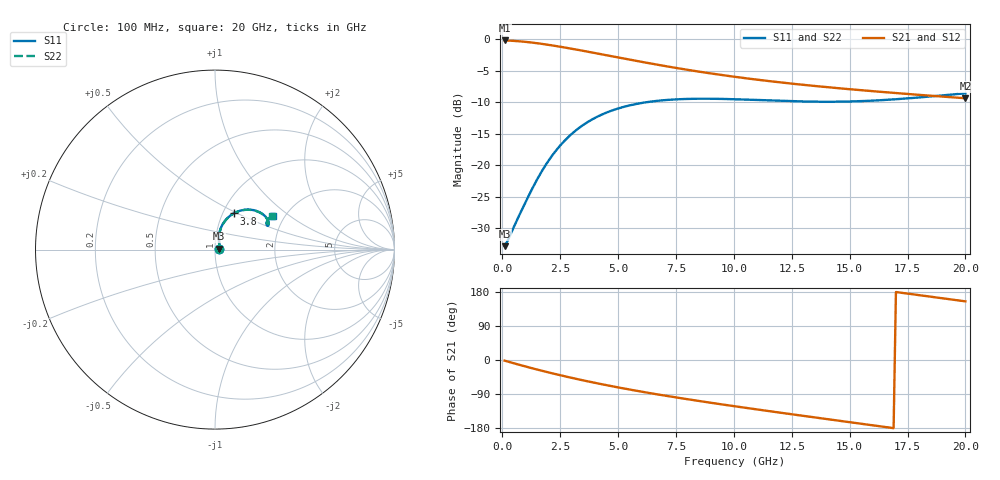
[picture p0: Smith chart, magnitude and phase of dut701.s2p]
! Touchstone file exported from HFSS 2024.1.0
!  File:  C:/UserFiles/LocalFiles/RDL_TSV_Batchsim/temp_RDL_TSV_701_1779885938.aedt
!  Generated:  09:01:30 PM May 27, 2026
!  Design:  RDL_TSV
!  Project:  temp_RDL_TSV_701_1779885938
!  Setup:  Setup1
!  Solution:  Sweep
! Variables:
!  dtsv = 8.63um
!  hbump = 3um
!  htsv = 71.24um
!  ldown = 194.24um
!  lrdl = 586.24um
!  p = 40
!  p1 = 49.94um
!  rhole = 10um
!  subl = 2927.68um
!  t = 450um
!  tdown = 2.07um
!  trdl = 2.72um
!  viad = 10um
!  wdown = 23.38um
!  wrdl = 17.3um
!  xbump = 18um
# GHz S MA R 50.000000
! Terminal data exported
! Port[1] = TM1_1_T1
! Port[2] = TM1_4_T1
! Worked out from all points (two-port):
!   200 points, 100 MHz to 20 GHz, reference 50 ohm
!   highest |S21| = -0.20 dB at 100 MHz (marker M1); lowest = -9.4 dB at 20 GHz (marker M2)
!   |S21| within 3 dB of the highest: start of sweep to 5.445 GHz
!   lowest |S11| = -32.8 dB at 100 MHz (marker M3), VSWR 1.05, Z = 52.3 + j0.511 ohm
!   |S11| at or under -10 dB: start of sweep to 6.206 GHz
!   |S22| runs from -32.8 to -8.6 dB; largest |S21 - S12| = 8.3e-15
!   S11 on the Smith chart (normalised r, x): 100 MHz: 1.05, +0.01; 3.8 GHz: 1.12, +0.48; 20 GHz: 1.73, +0.76
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0.1  0.02289 12.3  0.9774 -1.8  0.9774 -1.8  0.02289 12.3
! Gamma 0 0 0 0
! Port Impedance 50 0 50 0
0.5  0.03265 44.1  0.9698 -8.7  0.9698 -8.7  0.03265 44.1
0.9  0.04664 61.0  0.9568 -15.4  0.9568 -15.4  0.04664 61.0
1.4  0.07126 72.1  0.9346 -23.6  0.9346 -23.6  0.07124 72.0
1.9  0.1024 75.2  0.9077 -31.3  0.9077 -31.3  0.1023 75.1
2.3  0.1298 74.5  0.884 -37.3  0.884 -37.3  0.1296 74.4
2.7  0.1574 72.1  0.8592 -43.0  0.8592 -43.0  0.1572 72.0
3.5  0.2094 65.5  0.8085 -53.9  0.8085 -53.9  0.2091 65.4
3.8  0.2269 62.7  0.7896 -57.7  0.7896 -57.7  0.2264 62.6
4.4  0.2575 57.2  0.7525 -65.2  0.7525 -65.2  0.257 57.1
5.1  0.286 51.2  0.7112 -73.5  0.7112 -73.5  0.2853 51.1
5.9  0.3095 45.0  0.6675 -82.3  0.6675 -82.3  0.3087 44.9
6.8  0.3262 39.1  0.623 -91.8  0.623 -91.8  0.3253 39.0
7.6  0.3342 34.7  0.5879 -99.7  0.5879 -99.7  0.3332 34.6
8.4  0.3374 31.2  0.5566 -107.3  0.5566 -107.3  0.3363 31.1
10.1  0.334 26.2  0.5017 -122.6  0.5017 -122.6  0.3329 26.1
11.7  0.326 24.3  0.4615 -136.4  0.4615 -136.4  0.3248 24.2
13.4  0.3198 24.6  0.4276 -150.8  0.4276 -150.8  0.3186 24.6
15  0.3209 26.4  0.4015 -164.1  0.4015 -164.1  0.3197 26.4
16.7  0.3315 28.6  0.378 -178.2  0.378 -178.2  0.3304 28.6
18.3  0.3492 30.1  0.3587 168.7  0.3587 168.7  0.3481 30.1
20  0.3725 30.5  0.3404 154.8  0.3404 154.8  0.3714 30.5
